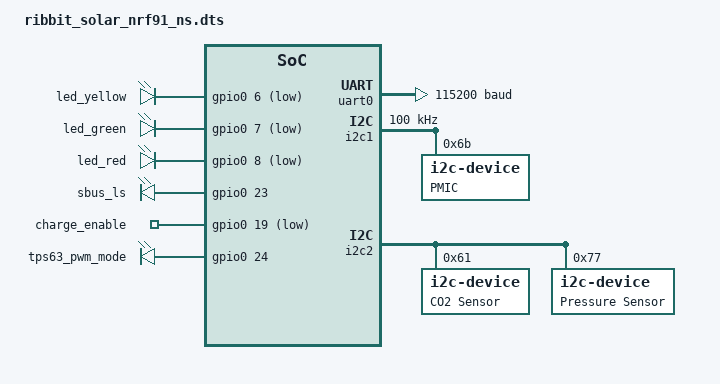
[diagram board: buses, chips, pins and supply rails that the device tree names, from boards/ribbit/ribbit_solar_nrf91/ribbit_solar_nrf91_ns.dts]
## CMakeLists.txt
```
#
# Copyright (c) 2025 Nordic Semiconductor ASA
#
# SPDX-License-Identifier: LicenseRef-Nordic-5-Clause
#

cmake_minimum_required(VERSION 3.20.0)
find_package(Zephyr REQUIRED HINTS $ENV{ZEPHYR_BASE})
project(ribbit-solar-nrf91)

target_sources(app PRIVATE src/main.c)
```

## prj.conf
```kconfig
#
# Copyright (c) 2022 Nordic Semiconductor ASA
#
# SPDX-License-Identifier: LicenseRef-Nordic-5-Clause
#

# Log level
# For more verbose and detailed log output, set the log level to
# CONFIG_MULTI_SERVICE_LOG_LEVEL_DBG=y instead.
CONFIG_MULTI_SERVICE_LOG_LEVEL_INF=y

# General config
CONFIG_EVENTS=y
CONFIG_PICOLIBC_IO_FLOAT=y
CONFIG_RESET_ON_FATAL_ERROR=y
CONFIG_NCS_SAMPLES_DEFAULTS=y
CONFIG_DK_LIBRARY=y

# LED indication
# Uncomment these to minimize LED state indication when power savings are necessary
# CONFIG_LED_VERBOSE_INDICATION=n
# CONFIG_LED_CONTINUOUS_INDICATION=n

# Or, uncomment this to completely disable LED state indication
# CONFIG_LED_INDICATION_DISABLED=y

# Improved Logging
# CONFIG_LOG_MODE_DEFERRED allows logging from multiple threads simultaneously without creating
# splintered log entries, at the cost of needing a buffer for storing logs.
CONFIG_LOG_MODE_DEFERRED=y

# CONFIG_LOG_BUFFER_SIZE is the aforementioned buffer. A size of 4096 bytes is useful for debugging
# and prototyping, but is probably more than necessary for production-ready firmware.
CONFIG_LOG_BUFFER_SIZE=4096

# Heap and stacks
# Extended AT host/monitor stack/heap sizes since some nrf_cloud credentials are longer than 1024 bytes.
CONFIG_AT_MONITOR_HEAP_SIZE=2048
CONFIG_AT_HOST_STACK_SIZE=2048
# Extended memory heap size needed both for PGPS and for encoding JSON-based nRF Cloud Device Messages.
CONFIG_HEAP_MEM_POOL_SIZE=19000
CONFIG_SYSTEM_WORKQUEUE_STACK_SIZE=4096
# The default modem shared memory buffer for TX is significantly larger than required.
# RX buffer has to be larger because the sample reads certificates so using default value.
CONFIG_NRF_MODEM_LIB_SHMEM_TX_SIZE=4096

# Enable Networking and Connection Manager.
CONFIG_NETWORKING=y
CONFIG_NET_SOCKETS=y
CONFIG_NET_SOCKETS_OFFLOAD=y
CONFIG_NET_MGMT_EVENT_STACK_SIZE=2048
CONFIG_NET_CONNECTION_MANAGER_MONITOR_STACK_SIZE=1024
CONFIG_MAIN_STACK_SIZE=2048

# Enable LTE Connectivity using Connection Manager
CONFIG_NET_IPV4=y
CONFIG_NET_IPV6=y
CONFIG_NET_IPV6_NBR_CACHE=n
CONFIG_NET_IPV6_MLD=n
CONFIG_NET_CONNECTION_MANAGER=y
CONFIG_NRF_MODEM_LIB_NET_IF=y
CONFIG_NRF_MODEM_LIB_NET_IF_AUTO_DOWN=y
CONFIG_NRF_MODEM_LIB_NET_IF_DOWN_DEFAULT_LTE_DISCONNECT=y

# Enable power savings mode
CONFIG_LTE_PSM_REQ=y
# Set the PSM Requested Active Time to 20 seconds
CONFIG_LTE_PSM_REQ_RAT="00001010"

# Modem library
CONFIG_NRF_MODEM_LIB=y

# AT commands interface
CONFIG_UART_INTERRUPT_DRIVEN=y
CONFIG_AT_HOST_LIBRARY=y

# Wait for credential installation to be complete before connecting to nRF Cloud
CONFIG_NRF_CLOUD_CHECK_CREDENTIALS=y

# nRF Cloud
CONFIG_NRF_CLOUD=y
CONFIG_NRF_CLOUD_MQTT=y # This also enables FOTA by implicitly setting CONFIG_NRF_CLOUD_FOTA=y

# MQTT
CONFIG_MQTT_KEEPALIVE=120

# MCUBOOT - Needed by FOTA
CONFIG_BOOTLOADER_MCUBOOT=y
CONFIG_IMG_MANAGER=y
CONFIG_MCUBOOT_IMG_MANAGER=y
CONFIG_STREAM_FLASH_ERASE=y

# Location Services configuration
CONFIG_LOCATION=y
CONFIG_LOCATION_METHOD_GNSS=y
CONFIG_LOCATION_METHOD_CELLULAR=y
CONFIG_NRF_CLOUD_AGNSS=y
CONFIG_NRF_CLOUD_LOCATION=y
CONFIG_MODEM_INFO=y
CONFIG_MODEM_INFO_ADD_NETWORK=y
CONFIG_NRF_CLOUD_PGPS=y
CONFIG_NRF_CLOUD_PGPS_REPLACEMENT_THRESHOLD=4
CONFIG_NRF_CLOUD_PGPS_REQUEST_UPON_INIT=y

# Date Time lib - Used by PGPS and main application
CONFIG_DATE_TIME=y

# LTE link control - used by PGPS and main application
CONFIG_LTE_LINK_CONTROL=y
CONFIG_LTE_LC_EDRX_MODULE=y
CONFIG_LTE_LC_PSM_MODULE=y

# Settings - used by nRF Cloud library and PGPS
CONFIG_SETTINGS=y
CONFIG_SETTINGS_FCB=y
CONFIG_FCB=y

# Download Client - used by FOTA and PGPS
CONFIG_DOWNLOADER=y
CONFIG_DOWNLOADER_STACK_SIZE=4352
CONFIG_DOWNLOADER_MAX_HOSTNAME_SIZE=128

# Flash - Used by FOTA and PGPS
CONFIG_FLASH=y
CONFIG_FLASH_PAGE_LAYOUT=y
CONFIG_FLASH_MAP=y
CONFIG_STREAM_FLASH=y
CONFIG_MPU_ALLOW_FLASH_WRITE=y
CONFIG_PM_EXTERNAL_FLASH_MCUBOOT_SECONDARY=n
CONFIG_NRF_CLOUD_ALERT=y
CONFIG_NRF_CLOUD_LOG_DIRECT=y
CONFIG_NRF_CLOUD_LOG_OUTPUT_LEVEL=3

# On initial connection to the cloud, add info sections to the shadow
CONFIG_NRF_CLOUD_SEND_DEVICE_STATUS=y
CONFIG_NRF_CLOUD_SEND_DEVICE_STATUS_NETWORK=y
CONFIG_NRF_CLOUD_SEND_DEVICE_STATUS_SIM=y
CONFIG_NRF_CLOUD_SEND_SERVICE_INFO_FOTA=y
CONFIG_NRF_CLOUD_SEND_SERVICE_INFO_UI=y


CONFIG_LOCATION_TRACKING_SAMPLE_INTERVAL_SECONDS=86400
CONFIG_SENSOR_SAMPLE_INTERVAL_SECONDS=500
```

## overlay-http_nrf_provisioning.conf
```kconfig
#
# Copyright (c) 2023 Nordic Semiconductor ASA
#
# SPDX-License-Identifier: LicenseRef-Nordic-5-Clause
#

# Enable provisioning library/provisioning shell dependencies
CONFIG_MODEM_JWT=y
CONFIG_MODEM_ATTEST_TOKEN=y

# Enable the provisioning library
CONFIG_NRF_PROVISIONING=y
CONFIG_NRF_PROVISIONING_AUTO_INIT=n
CONFIG_NRF_PROVISIONING_HTTP=y

# Enable provisioning shell
CONFIG_SHELL=y
CONFIG_NRF_PROVISIONING_SHELL=y

CONFIG_SHELL_BACKEND_SERIAL=y

# Adjust shell buffer sizes to handle nRF Cloud certs
CONFIG_SHELL_BACKEND_SERIAL_RX_RING_BUFFER_SIZE=4096
CONFIG_SHELL_CMD_BUFF_SIZE=4096

# Disable AT host and switch to using shell
CONFIG_AT_HOST_LIBRARY=n
CONFIG_AT_SHELL=y
CONFIG_SHELL_WILDCARD=n

# Configure provisioning message formatting
CONFIG_NRF_PROVISIONING_CODEC=y
CONFIG_NRF_PROVISIONING_CBOR=y
CONFIG_ZCBOR=y
CONFIG_ZCBOR_CANONICAL=y

# Include provisioning service certificate as part of the binary.
# Used only if none has been provisioned
CONFIG_NRF_PROVISIONING_WITH_CERT=y
CONFIG_NRF_PROVISIONING_ROOT_CA_SEC_TAG=50
CONFIG_NRF_CLOUD_CLIENT_ID_SRC_INTERNAL_UUID=y

# Max provisioning commands per response
CONFIG_NRF_PROVISIONING_CBOR_RECORDS=20

# Set the provisioning interval to 60 seconds.
# This is a very frequent interval. To save power, set this to something approaching 24 hours.
# But note that provisioning may take up to twice as long as this interval, since it
# happens in two steps.
CONFIG_NRF_PROVISIONING_INTERVAL_S=60

# Request spread factor
CONFIG_NRF_PROVISIONING_SPREAD_S=5

# Adjust provisioning and buffer sizes to handle nRF Cloud certs
CONFIG_NRF_PROVISIONING_RX_BUF_SZ=4096
CONFIG_NRF_PROVISIONING_TX_BUF_SZ=4096
CONFIG_NRF_PROVISIONING_CODEC_AT_CMD_LEN=2048
CONFIG_NRF_PROVISIONING_CODEC_RX_SZ_START=2048
```

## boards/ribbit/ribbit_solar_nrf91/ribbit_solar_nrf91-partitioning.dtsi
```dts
/*
 * Default Flash planning
 *
 * Zephyr build with ARM TrustZone-M support, implies building Secure and
 * Non-Secure Zephyr images.
 *
 * Secure image will be placed, by default, in flash0 (or in slot0, if MCUboot
 * is present). Secure image will use sram0 for system memory.
 *
 * Non-Secure image will be placed in slot0_ns, and use sram0_ns for system
 * memory.
 *
 * Note that the Secure image only requires knowledge of the beginning of the
 * Non-Secure image (not its size).
 */
&flash0 {
	partitions {
		compatible = "fixed-partitions";
		#address-cells = <1>;
		#size-cells = <1>;

		boot_partition: partition@0 {
			label = "mcuboot";
			reg = <0x00000000 DT_SIZE_K(64)>;
		};

		slot0_partition: partition@10000 {
			label = "image-0";
			reg = <0x00010000 DT_SIZE_K(256)>;
		};

		slot0_ns_partition: partition@50000 {
			label = "image-0-nonsecure";
			reg = <0x00050000 DT_SIZE_K(212)>;
		};

		slot1_partition: partition@85000 {
			label = "image-1";
			reg = <0x00085000 DT_SIZE_K(256)>;
		};

		slot1_ns_partition: partition@c5000 {
			label = "image-1-nonsecure";
			reg = <0x000c5000 DT_SIZE_K(212)>;
		};

		storage_partition: partition@fa000 {
			label = "storage";
			reg = <0x000fa000 DT_SIZE_K(24)>;
		};
	};
};


/* Default SRAM planning when building with ARM TrustZone-M support:
 * - Lowest 88 kB SRAM allocated to Secure image (sram0_s).
 * - 40 kB SRAM reserved for and used by the modem library (sram0_modem). This
 *   memory is Non-Secure.
 * - Upper 128 kB allocated to Non-Secure image (sram0_ns). When building with
 *   TF-M, both sram0_modem and sram0_ns are allocated to the Non-Secure image.
 */
/ {
	reserved-memory {
		#address-cells = <1>;
		#size-cells = <1>;
		ranges;

		/* Secure image memory */
		sram0_s: image_s@20000000 {
			reg = <0x20000000 DT_SIZE_K(88)>;
		};

		/* Modem (shared) memory */
		sram0_modem: image_modem@20016000 {
			reg = <0x20016000 DT_SIZE_K(40)>;
		};

		/* Non-Secure image memory */
		sram0_ns: image_ns@20020000 {
			reg = <0x20020000 DT_SIZE_K(128)>;
		};
	};
};
```

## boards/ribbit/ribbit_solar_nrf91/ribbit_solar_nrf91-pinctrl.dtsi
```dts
&pinctrl {
    uart0_default: uart0_default {
		group1 {
			psels = <NRF_PSEL(UART_TX, 0, 15)>;
		};

		group2 {
			psels = <NRF_PSEL(UART_RX, 0, 14)>;
			bias-pull-up;
		};
	};

	uart0_sleep: uart0_sleep {
		group1 {
			psels = <NRF_PSEL(UART_TX, 0, 15)>,
                    <NRF_PSEL(UART_RX, 0, 14)>;
			low-power-enable;
		};
	};

	i2c1_default: i2c0_default {
		group1 {
			psels = <NRF_PSEL(TWIM_SDA, 0, 21)>,
					<NRF_PSEL(TWIM_SCL, 0, 20)>;
		};
	};

	i2c2_default: i2c1_default {
		group1 {
			psels = <NRF_PSEL(TWIM_SDA, 0, 30)>,
					<NRF_PSEL(TWIM_SCL, 0, 31)>;
		};
	};
};
```

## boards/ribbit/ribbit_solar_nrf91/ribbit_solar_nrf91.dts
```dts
/dts-v1/;
#include <nordic/nrf9151_laca.dtsi>
#include "ribbit_solar_nrf91-pinctrl.dtsi"
#include "ribbit_solar_nrf91-partitioning.dtsi"

/ {
	chosen {
		zephyr,sram = &sram0_s;
		zephyr,flash = &flash0;
		zephyr,code-partition = &slot0_partition;
		zephyr,sram-secure-partition = &sram0_s;
		zephyr,sram-non-secure-partition = &sram0_ns;
	};
};
```

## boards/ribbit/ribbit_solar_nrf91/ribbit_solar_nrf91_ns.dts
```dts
/dts-v1/;
#include <nordic/nrf9151ns_laca.dtsi>
#include "ribbit_solar_nrf91-pinctrl.dtsi"
#include "ribbit_solar_nrf91-partitioning.dtsi"

#include <zephyr/dt-bindings/i2c/i2c.h>

/ {
	chosen {
		zephyr,flash = &flash0;
		zephyr,sram = &sram0_ns;
		zephyr,code-partition = &slot0_ns_partition;
		zephyr,console = &uart0;
		zephyr,shell-uart = &uart0;
	};

	aliases {
		led0 = &led_green;
	};

	leds {
		compatible = "gpio-leds";
		led_yellow: led_yellow {
			gpios = <&gpio0 6 GPIO_ACTIVE_LOW>;
		};
		led_green: led_green {
			gpios = <&gpio0 7 GPIO_ACTIVE_LOW>;
		};
		led_red: led_red {
			gpios = <&gpio0 8 GPIO_ACTIVE_LOW>;
		};
	};

	enables {
		compatible = "gpio-leds";
		sbus_ls: sbus_ls {
			gpios = <&gpio0 23 GPIO_ACTIVE_HIGH>;
		};
		charge_enable: charge_enable {
			gpios = <&gpio0 19 GPIO_ACTIVE_LOW>;
		};
		tps63_pwm_mode: tps63_pwm_mode {
			gpios = <&gpio0 24 GPIO_ACTIVE_HIGH>;
		};
	};
};

&gpiote {
	status = "okay";
};

&gpio0 {
	status = "okay";
};

&uart0 {
	compatible = "nordic,nrf-uarte";
	status = "okay";
	current-speed = <115200>;
	pinctrl-0 = <&uart0_default>;
	pinctrl-1 = <&uart0_sleep>;
	pinctrl-names = "default", "sleep";
};

&i2c1 {
	compatible = "nordic,nrf-twim";
	status = "okay";
	clock-frequency = <I2C_BITRATE_STANDARD>;

	pinctrl-0 = <&i2c1_default>;
	pinctrl-names = "default";

	bq25798: bq25798@6b {
		compatible = "i2c-device";
		reg = <0x6b>;
		label = "PMIC";
	};
};

&i2c2 {
	compatible = "nordic,nrf-twim";
	status = "okay";
	pinctrl-0 = <&i2c2_default>;
	pinctrl-names = "default";

	scd30: scd30@61 {
		compatible = "i2c-device";
		reg = <0x61>;
		label = "CO2 Sensor";
	};

	dps310: dps310@77 {
		compatible = "i2c-device";
		// compatible = "infineon,dps310";
		reg = <0x77>;
		label = "Pressure Sensor";
	};

};
```

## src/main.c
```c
/*
 * Copyright (c) 2016 Intel Corporation
 *
 * SPDX-License-Identifier: Apache-2.0
 */

#include <stdio.h>
#include <zephyr/kernel.h>
#include <zephyr/drivers/gpio.h>
#include <zephyr/drivers/i2c.h>
#include <zephyr/sys/crc.h>

#define LED_YELLOW_NODE 	DT_NODELABEL(led_green)
#define SBUS_LS_NODE 		DT_NODELABEL(sbus_ls)
#define CHARGE_EN_NODE 		DT_NODELABEL(charge_enable)

#define BQ25798_NODE		DT_NODELABEL(bq25798)
#define SCD30_NODE			DT_NODELABEL(scd30)
#define DPS310_NODE			DT_NODELABEL(dps310)

static const struct gpio_dt_spec led = GPIO_DT_SPEC_GET(LED_YELLOW_NODE, gpios);
static const struct gpio_dt_spec sbus_ls = GPIO_DT_SPEC_GET(SBUS_LS_NODE, gpios);
static const struct gpio_dt_spec charge_enable = GPIO_DT_SPEC_GET(CHARGE_EN_NODE, gpios);

static const struct i2c_dt_spec pmic_i2c = I2C_DT_SPEC_GET(BQ25798_NODE);
static const struct i2c_dt_spec sbus_scd30_i2c = I2C_DT_SPEC_GET(SCD30_NODE);
static const struct i2c_dt_spec sbus_dps310_i2c = I2C_DT_SPEC_GET(DPS310_NODE);

int turn_on_sbus(void) {
	int ret;

	// Set up SBUS power
	if (!gpio_is_ready_dt(&sbus_ls)) {
		return -1;
	}

	ret = gpio_pin_configure_dt(&sbus_ls, GPIO_OUTPUT_ACTIVE);
	if (ret < 0) {
		return -1;
	}

	ret = gpio_pin_set_dt(&sbus_ls, 1);
	if (ret < 0) {
		return -1;
	}

	printk("SBUS enabled\n");
	return ret;
}

int test_pmic_i2c(void)
{
	// Use low level I2C APIs to do a basic test of each device on the power bus
	int ret;
	if (!device_is_ready(pmic_i2c.bus)) {
		printk("I2C bus %s is not ready!\n\r",pmic_i2c.bus->name);
		return -1;
	}

	uint8_t data;
	uint8_t addr = 0x48;
	ret = i2c_reg_read_byte_dt(&pmic_i2c, addr, &data);
	if(ret != 0){
		printk("Failed to read byte from I2C device address %x at Reg. %x \n\r", pmic_i2c.addr, addr);
	}

	printk("Read BQ25798 I2C byte @ %x: %x\n", addr, data);
	if (data != 0x19) {
		printk("BQ25798 I2C failed\n");
	} else {
		printk("BQ25798 I2C passed\n");
	}

	return ret;
}

int test_sbus_i2c(void)
{
	// Use low level I2C APIs to do a basic test of each device on the sensor bus
	int ret;

	// -- SCD30 --

	if (!device_is_ready(sbus_scd30_i2c.bus)) {
		printk("I2C bus %s is not ready!\n\r",sbus_scd30_i2c.bus->name);
		return -1;
	}

	uint8_t data[3] = {0};
	uint8_t cmd[] = {0xD1, 0x00};
	ret = i2c_write_dt(&sbus_scd30_i2c, cmd, sizeof(cmd));
	if(ret != 0){
		printk("Failed to read bytes from I2C device address %x at Reg. %x %x\n", sbus_scd30_i2c.addr, cmd[0], cmd[1]);
	}

	// required, see scd30 interface datasheet
	k_sleep(K_MSEC(3));

	ret = i2c_read_dt(&sbus_scd30_i2c, data, sizeof(data));

	uint8_t expected[3] = {0x03, 0x42, 0};
	expected[2] = crc8(expected, 2, 0x31, 0xFF, false);

	bool scd30_pass = true;
	printk("Read SCD30 I2C @ d100: ");
	for (int i = 0; i < sizeof(expected); i++) {
		printk("%x", data[i]);
		if (data[i] != expected[i]) {
			scd30_pass = false;
		} 
	}

	if (scd30_pass) {
		printk("\nSCD30 I2C passed\n");
	} else {
		printk("\nSCD30 I2C failed\n");
	}

	// -- DPS310 --

	if (!device_is_ready(sbus_dps310_i2c.bus)) {
		printk("I2C bus %s is not ready!\n\r",sbus_dps310_i2c.bus->name);
		return 0;
	}

	uint8_t dps_data;
	uint8_t addr = 0x0D;
	ret = i2c_reg_read_byte_dt(&sbus_dps310_i2c, addr, &dps_data);
	if(ret != 0){
		printk("Failed to read byte from I2C device address %x at Reg. %x \n\r", sbus_dps310_i2c.addr, addr);
	}

	printk("Read DPS310 I2C byte @ %x: %x\n", addr, dps_data);
	if (dps_data != 0x10) {
		printk("DPS310 I2C failed\n");
	} else {
		printk("DPS310 I2C passed\n");
	}
	
	return ret;
}

int infinite_blink(void)
{
	int ret;
	if (!gpio_is_ready_dt(&led)) {
		return -1;
	}

	ret = gpio_pin_configure_dt(&led, GPIO_OUTPUT_ACTIVE);
	if (ret < 0) {
		return -1;
	}

	while (1) {
		ret = gpio_pin_toggle_dt(&led);
		if (ret < 0) {
			return -1;
		}

		k_sleep(K_MSEC(1000));
	}
}

int enable_charging(void)
{
	int ret;

	// Set up SBUS power
	if (!gpio_is_ready_dt(&charge_enable)) {
		return -1;
	}

	ret = gpio_pin_configure_dt(&charge_enable, GPIO_OUTPUT_ACTIVE);
	if (ret < 0) {
		return -1;
	}

	ret = gpio_pin_set_dt(&charge_enable, 1);
	if (ret < 0) {
		return -1;
	}

	printk("nCE enabled\n");
	return ret;
}

#define REG_Minimum_System_Voltage      0x00
#define REG_Charge_Voltage_Limit        0x01
#define REG_Charge_Current_Limit        0x03
#define REG_Input_Voltage_Limit         0x05
#define REG_Input_Current_Limit         0x06
#define REG_Charger_Control_0           0x0F
#define REG_Precharge_Control           0x08
#define REG_Termination_Control         0x09
#define REG_Charger_Control_1           0x10
#define REG_Charger_Control_5           0x14
#define REG_MPPT_Control               	0x15
#define REG_Charger_Status_0            0x1B
#define REG_Charger_Status_1            0x1C
#define REG_Charger_Status_2            0x1D
#define REG_Charger_Status_3            0x1E
#define REG_Charger_Status_4            0x1F
#define REG_Charger_Flag_0              0x22
#define REG_ADC_Control             	0x2E
#define REG_ADC_Function_Disable_1	    0x30

static int i2c_reg_write_word_dt(const struct i2c_dt_spec *i2c, uint8_t reg_addr, uint16_t value)
{
    uint8_t bytes[3];

    bytes[0] = reg_addr;
    bytes[1] = (uint8_t)(value >> 8);
    bytes[2] = (uint8_t)(value & 0xFF);

    return i2c_write_dt(i2c, bytes, sizeof(bytes));
}

static int i2c_reg_read_word_dt(const struct i2c_dt_spec * i2c, uint8_t reg_addr, uint16_t * value)
{
    uint8_t buf[2];
    int ret = i2c_write_read_dt(i2c, &reg_addr, 1, buf, 2);
    if (ret != 0) {
        return ret;
    }

    *value = ((uint16_t)buf[0] << 8) | buf[1];
    return 0;
}

int program_charge_params(void)
{
	// reset
	if (i2c_reg_write_byte_dt(&pmic_i2c, REG_Termination_Control, 0x40)) {
		goto failed;
	}	

	k_sleep(K_MSEC(20));

	// bq.disable_watchdog()
	if (i2c_reg_write_byte_dt(&pmic_i2c, REG_Charger_Control_1, 0x80)) {
		goto failed;
	}

    // bq.config_vsysmin(2500)
	// 0 * 250 mV + 2500 mV == 2500 mV
	if (i2c_reg_write_byte_dt(&pmic_i2c, REG_Minimum_System_Voltage, 0)) {
		goto failed;
	}

	uint8_t byte_val;
	if (i2c_reg_read_byte_dt(&pmic_i2c, REG_Minimum_System_Voltage, &byte_val)) {
		goto failed;
	}
	printk("Minimum System Voltage = %d mV\n", (byte_val * 250) + 2500);

	uint16_t word_val;
    // bq.config_charge_voltage_limit(3550)
	if (i2c_reg_write_word_dt(&pmic_i2c, REG_Charge_Voltage_Limit, 355)) {
		goto failed;
	}
	
	if (i2c_reg_read_word_dt(&pmic_i2c, REG_Charge_Voltage_Limit, &word_val)) {
		goto failed;
	}

	printk("Charge Voltage Limit = %d mV\n", word_val * 10);

    // bq.config_charge_current_limit(500)
	if (i2c_reg_write_word_dt(&pmic_i2c, REG_Charge_Current_Limit, 50)) {
		goto failed;
	}
	
	if (i2c_reg_read_word_dt(&pmic_i2c, REG_Charge_Current_Limit, &word_val)) {
		goto failed;
	}

	printk("Charge Current Limit = %d mA\n", word_val * 10);

    // bq.config_precharge_current(40)
	if (i2c_reg_write_byte_dt(&pmic_i2c, REG_Precharge_Control, 1)) {
		goto failed;
	}
	
	if (i2c_reg_read_byte_dt(&pmic_i2c, REG_Precharge_Control, &byte_val)) {
		goto failed;
	}

	printk("Precharge Current Limit = %d mA\n", byte_val * 40);

    // bq.config_charge_term_current(40)
	if (i2c_reg_write_byte_dt(&pmic_i2c, REG_Termination_Control, 2)) {
		goto failed;
	}
	
	if (i2c_reg_read_byte_dt(&pmic_i2c, REG_Termination_Control, &byte_val)) {
		goto failed;
	}

	printk("Termination Current Limit = %d mA\n", byte_val * 40);

	// re-run poor source qualification
    // bq.recheck_vbus()
	if (i2c_reg_read_byte_dt(&pmic_i2c, REG_Charger_Control_0, &byte_val)) {
		goto failed;
	}

	// Force EN_HIZ
	// byte_val &= ~(1 << 2);

	// if (i2c_reg_write_byte_dt(&pmic_i2c, REG_Charger_Control_0, byte_val)) {
	// 	goto failed;
	// }

	// printk("Forcing re-check\n");

	// In theory, MPPT could be turned on whenever we detect the solar power present

	// bq.enable_mppt()
	if (i2c_reg_write_byte_dt(&pmic_i2c, REG_MPPT_Control, 0x4B)) {
		goto failed;
	}

	// printk("Enabled MPPT\n");

	// bq.configure_control5()
	// disable EN_EXTILIM, enable EN_IBAT
	if (i2c_reg_write_byte_dt(&pmic_i2c, REG_Charger_Control_5, 0x3c)) {
		goto failed;
	}
	
	if (i2c_reg_read_byte_dt(&pmic_i2c, REG_Input_Voltage_Limit, &byte_val)) {
		goto failed;
	}

	printk("Disable IINDPM limit from external pin\n");
	printk("Enable IBAT discharge sensing\n");

	// bq.config_vindpm(3600)
	if (i2c_reg_write_byte_dt(&pmic_i2c, REG_Input_Voltage_Limit, 36)) {
		goto failed;
	}
	
	if (i2c_reg_read_byte_dt(&pmic_i2c, REG_Input_Voltage_Limit, &byte_val)) {
		goto failed;
	}

	printk("Input Voltage Limit = %d mV\n", byte_val * 100);

 	// bq.config_iindpm(100)
	if (i2c_reg_write_word_dt(&pmic_i2c, REG_Input_Current_Limit, 50)) {
		goto failed;
	}
	
	if (i2c_reg_read_word_dt(&pmic_i2c, REG_Input_Current_Limit, &word_val)) {
		goto failed;
	}

	printk("Input Current Limit = %d mA\n", word_val * 10);

	return 0;
failed:
	printk("ERROR DURING BQ25 COMMANDS\n");
	return 1;
}

int print_adc_values(void)
{
	// Read conversions
	char * names[9] = {"ibus", "ibat", "vbus", "vac1", "vac2", "vbat", "vsys", "ts", "tdie"};
	int16_t vals[9] = {0};
	for (uint8_t i = 0; i < 9; i++) {
		if (i2c_reg_read_word_dt(&pmic_i2c, 0x31 + (2*i), vals + i)) {
			return -1;
		}
	}

	for (int i = 0; i < 9; i++) {
		printk("%s : %d\n", names[i], vals[i]);
	}

	return 0;
}


int main(void)
{
	if (turn_on_sbus()) {
		return 0;
	}

	test_pmic_i2c();
	test_sbus_i2c();

	// assumes a ~ 1500 mA lifepo4 cell
	program_charge_params();

	enable_charging();

	// Enable ADC
	if (i2c_reg_write_byte_dt(&pmic_i2c, REG_ADC_Control, 0x80)) {
		printk("ERROR DURING ADC ENABLE\n");
		return -1;
	}

	// Ensure we're charging from panel
	if (i2c_reg_write_byte_dt(&pmic_i2c, 0x13, 0x80)) {
		printk("ERROR DURING ADC ENABLE\n");
		return -1;
	}

	printk("Enabled ADC continuous conversion\n");

	while (true) {
		print_adc_values();
		k_sleep(K_MSEC(1000));
	}

	return 0;
}
```

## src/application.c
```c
/* Copyright (c) 2023 Nordic Semiconductor ASA
 *
 * SPDX-License-Identifier: LicenseRef-Nordic-5-Clause
 */

#include <zephyr/kernel.h>
#include <zephyr/logging/log.h>
#include <zephyr/logging/log_ctrl.h>
#include <helpers/nrfx_reset_reason.h>
#include <date_time.h>
#include <stdio.h>
#include <net/nrf_cloud.h>
#include <net/nrf_cloud_codec.h>
#include <net/nrf_cloud_log.h>
#include <net/nrf_cloud_alert.h>
#if defined(CONFIG_NRF_CLOUD_COAP)
#include <net/nrf_cloud_coap.h>
#endif
#if defined(CONFIG_LOCATION_TRACKING)
#include <modem/location.h>
#include "location_tracking.h"
#endif
#include <dk_buttons_and_leds.h>
#include "application.h"
#include "temperature.h"
#include "cloud_connection.h"
#include "message_queue.h"
#include "led_control.h"
#include "at_commands.h"
#include "shadow_config.h"


LOG_MODULE_REGISTER(application, CONFIG_MULTI_SERVICE_LOG_LEVEL);

#include "ribbit.h"

/* Timer used to time the sensor sampling rate. */
static K_TIMER_DEFINE(sensor_sample_timer, NULL, NULL);

/* AT command request error handling */
#define AT_CMD_REQUEST_ERR_FORMAT "Error while processing AT command request: %d"
#define AT_CMD_REQUEST_ERR_MAX_LEN (sizeof(AT_CMD_REQUEST_ERR_FORMAT) + 20)
BUILD_ASSERT(CONFIG_AT_CMD_REQUEST_RESPONSE_BUFFER_LENGTH >= AT_CMD_REQUEST_ERR_MAX_LEN,
	     "Not enough AT command response buffer for printing error events.");

/* Temperature alert limits. */
#define TEMP_ALERT_LIMIT ((double)CONFIG_TEMP_ALERT_LIMIT)
#define TEMP_ALERT_HYSTERESIS 1.5
#define TEMP_ALERT_LOWER_LIMIT (TEMP_ALERT_LIMIT - TEMP_ALERT_HYSTERESIS)

/* State of the test counter. This can be changed using the configuration in the shadow */
static bool test_counter_enabled;

/**
 * @brief Construct a device message object with automatically generated timestamp
 *
 * The resultant JSON object will be conformal to the General Message Schema described in the
 * application-protocols repo:
 *
 * https://github.com/nRFCloud/application-protocols
 *
 * @param msg - The object to contain the message
 * @param appid - The appId for the device message
 * @param msg_type - The messageType for the device message
 * @return int - 0 on success, negative error code otherwise.
 */
static int create_timestamped_device_message(struct nrf_cloud_obj *const msg,
					     const char *const appid,
					     const char *const msg_type)
{
	int err;
	int64_t timestamp;

	/* Acquire timestamp */
	err = date_time_now(&timestamp);
	if (err) {
		LOG_ERR("Failed to obtain current time, error %d", err);
		return -ETIME;
	}

	/* Create message object */
	err = nrf_cloud_obj_msg_init(msg, appid,
				     IS_ENABLED(CONFIG_NRF_CLOUD_COAP) ? NULL : msg_type);
	if (err) {
		LOG_ERR("Failed to initialize message with appid %s and msg type %s",
			appid, msg_type);
		return err;
	}

	/* Add timestamp to message object */
	err = nrf_cloud_obj_ts_add(msg, timestamp);
	if (err) {
		LOG_ERR("Failed to add timestamp to data message with appid %s and msg type %s",
			appid, msg_type);
		nrf_cloud_obj_free(msg);
		return err;
	}

	return 0;
}

/**
 * @brief Transmit a collected sensor sample to nRF Cloud.
 *
 * @param sensor - The name of the sensor which was sampled.
 * @param value - The sampled sensor value.
 * @return int - 0 on success, negative error code otherwise.
 */
static int send_sensor_sample(const char *const sensor, double value)
{
	int ret;

	MSG_OBJ_DEFINE(msg_obj);

	/* Create a timestamped message container object for the sensor sample. */
	ret = create_timestamped_device_message(&msg_obj, sensor,
						NRF_CLOUD_JSON_MSG_TYPE_VAL_DATA);
	if (ret) {
		return -EINVAL;
	}

	/* Populate the container object with the sensor value. */
	ret = nrf_cloud_obj_num_add(&msg_obj, NRF_CLOUD_JSON_DATA_KEY, value, false);
	if (ret) {
		LOG_ERR("Failed to append value to %s sample container object ",
			sensor);
		nrf_cloud_obj_free(&msg_obj);
		return -ENOMEM;
	}

	/* Send the sensor sample container object as a device message. */
	return send_device_message(&msg_obj);
}

#if defined(CONFIG_LOCATION_TRACKING)
/**
 * @brief Transmit a collected GNSS sample to nRF Cloud.
 *
 * @param loc_gnss - GNSS location data.
 * @return int - 0 on success, negative error code otherwise.
 */
static int send_gnss(const struct location_event_data * const loc_gnss)
{
	int ret;

	if (!loc_gnss || (loc_gnss->method != LOCATION_METHOD_GNSS)) {
		return -EINVAL;
	}

	struct nrf_cloud_gnss_data gnss_pvt = {
		.type = NRF_CLOUD_GNSS_TYPE_PVT,
		.ts_ms = NRF_CLOUD_NO_TIMESTAMP,
		.pvt = {
			.lon		= loc_gnss->location.longitude,
			.lat		= loc_gnss->location.latitude,
			.accuracy	= loc_gnss->location.accuracy,
			.has_alt	= 0,
			.has_speed	= 0,
			.has_heading	= 0
		}
	};
	MSG_OBJ_DEFINE(msg_obj);

	/* Add the timestamp */
	(void)date_time_now(&gnss_pvt.ts_ms);

	/* Encode the location data into a device message */
	ret = nrf_cloud_obj_gnss_msg_create(&msg_obj, &gnss_pvt);

	if (ret == 0) {
		/* Send the location message */
		ret = send_device_message(&msg_obj);
	}

	return ret;
}

/**
 * @brief Callback to receive periodic location updates from location_tracking.c and forward them
 * to nRF Cloud.
 *
 * Note that cellular positioning (MCELL/Multi-Cell and SCELL/Single-Cell) is sent to nRF
 * Cloud automatically (since the Location library and nRF Cloud must work together to
 * determine them in the first place). GNSS positions, on the other hand, must be
 * sent manually, since they are determined entirely on-device.
 *
 * @param location_data - The received location update.
 *
 */
static void on_location_update(const struct location_event_data * const location_data)
{
	LOG_INF("Location Updated: %.06f N %.06f W, accuracy: %.01f m, Method: %s",
		location_data->location.latitude,
		location_data->location.longitude,
		(double)location_data->location.accuracy,
		location_method_str(location_data->method));

	/* If the position update was derived using GNSS, send it onward to nRF Cloud. */
	if (location_data->method == LOCATION_METHOD_GNSS) {
		LOG_INF("GNSS Position Update! Sending to nRF Cloud...");
		send_gnss(location_data);
	}
}
#endif /* CONFIG_LOCATION_TRACKING */

/**
 * @brief Receives general device messages from nRF Cloud, checks if they are AT command requests,
 * and performs them if so, transmitting the modem response back to nRF Cloud.
 *
 * Try sending {"appId":"MODEM", "messageType":"CMD", "data":"AT+CGMR"}
 * in the nRF Cloud Portal Terminal card.
 *
 * @param msg - The device message to check.
 */
static void handle_at_cmd_requests(const struct nrf_cloud_data *const dev_msg)
{
	char *cmd;
	NRF_CLOUD_OBJ_DEFINE(msg_obj, NRF_CLOUD_OBJ_TYPE__UNDEFINED);
	int err = nrf_cloud_obj_input_decode(&msg_obj, dev_msg);

	if (err) {
		/* The message isn't JSON or otherwise couldn't be parsed. */
		LOG_DBG("A general topic device message of length %d could not be parsed.",
			dev_msg->len);
		return;
	}

	/* Confirm app ID and message type */
	err = nrf_cloud_obj_msg_check(&msg_obj, NRF_CLOUD_JSON_APPID_VAL_MODEM,
				      NRF_CLOUD_JSON_MSG_TYPE_VAL_CMD);
	if (err) {
		goto cleanup;
	}

	/* Get the command string */
	err = nrf_cloud_obj_str_get(&msg_obj, NRF_CLOUD_JSON_DATA_KEY, &cmd);
	if (err) {
		/* Missing or invalid command value will be treated as a blank command */
		cmd = "";
	}

	/* Execute the command and receive the result */
	char *response = execute_at_cmd_request(cmd);

	/* To re-use msg_obj for the response message we must first free its memory and
	 * reset its state.
	 * The cmd string will no longer be valid after msg_obj is freed.
	 */
	cmd = NULL;
	/* Free the object's allocated memory */
	err = nrf_cloud_obj_free(&msg_obj);
	if (err) {
		LOG_ERR("Failed to free AT CMD request");
		return;
	}

	/* Reset the object's state */
	err = nrf_cloud_obj_reset(&msg_obj);
	if (err) {
		LOG_ERR("Failed to reset AT CMD request message object for reuse");
		return;
	}

	err = create_timestamped_device_message(&msg_obj, NRF_CLOUD_JSON_APPID_VAL_MODEM,
						NRF_CLOUD_JSON_MSG_TYPE_VAL_DATA);
	if (err) {
		return;
	}

	/* Populate response with command result */
	err = nrf_cloud_obj_str_add(&msg_obj, NRF_CLOUD_JSON_DATA_KEY, response, false);
	if (err) {
		LOG_ERR("Failed to populate AT CMD response with modem response data");
		goto cleanup;
	}

	/* Send the response */
	err = send_device_message(&msg_obj);
	if (err) {
		LOG_ERR("Failed to send AT CMD request response, error: %d", err);
	}

	return;

cleanup:
	(void)nrf_cloud_obj_free(&msg_obj);
}

/** @brief Check whether temperature is acceptable.
 * If the device exceeds a temperature limit, send the temperature alert one time.
 * Once the temperature falls below a lower limit, re-enable the temperature alert
 * so it will be sent if limit is exceeded again.
 *
 * The difference between the two limits should be sufficient to prevent sending
 * new alerts if the temperature value oscillates between two nearby values.
 *
 * @param temp - The current device temperature.
 */
static void monitor_temperature(double temp)
{
	static bool temperature_alert_active;

	if ((temp > TEMP_ALERT_LIMIT) && !temperature_alert_active) {
		temperature_alert_active = true;
		(void)nrf_cloud_alert_send(ALERT_TYPE_TEMPERATURE, (float)temp,
					   "Temperature over limit!");
		LOG_INF("Temperature limit %f C exceeded: now %f C.",
			TEMP_ALERT_LIMIT, temp);
	} else if ((temp < TEMP_ALERT_LOWER_LIMIT) && temperature_alert_active) {
		temperature_alert_active = false;
		LOG_INF("Temperature now below limit: %f C.", temp);
	}
}

/** @brief Send an incrementing test counter message to nRF Cloud.
 * If CONFIG_TEST_COUNTER_MULTIPLIER is greater than 1, the counter will be incremented
 * that many times in a row, and a separate test counter message will be sent for each increment.
 */
static void test_counter_send(void)
{
	static int counter;

	for (int i = 0; i < CONFIG_TEST_COUNTER_MULTIPLIER; i++) {
		LOG_INF("Sent test counter = %d", counter);
		(void)send_sensor_sample("COUNT", counter++);
	}
}

// static void button_handler(uint32_t button_state, uint32_t has_changed)
// {
// 	if (has_changed & DK_BTN1_MSK) {
// 		if ((button_state & DK_BTN1_MSK) == DK_BTN1_MSK) {
// 			LOG_INF("Button pressed");
// 			(void)nrf_cloud_alert_send(ALERT_TYPE_MSG, 0, "Button pressed");
// 		}
// 	}
// }

static void print_reset_reason(void)
{
	uint32_t reset_reason;

	reset_reason = nrfx_reset_reason_get();
	LOG_INF("Reset reason: 0x%x", reset_reason);
}

static void report_startup(void)
{
	if (IS_ENABLED(CONFIG_SEND_ONLINE_ALERT)) {
		uint32_t reset_reason;

		reset_reason = nrfx_reset_reason_get();
		nrfx_reset_reason_clear(reset_reason);
		(void)nrf_cloud_alert_send(ALERT_TYPE_DEVICE_NOW_ONLINE, reset_reason, NULL);
	}
}

void main_application_thread_fn(void)
{
	program_charge_params();

	print_reset_reason();

	if (IS_ENABLED(CONFIG_AT_CMD_REQUESTS)) {
		/* Register with connection.c to receive general device messages and check them for
		 * AT command requests.
		 */
		register_general_dev_msg_handler(handle_at_cmd_requests);
	}

	// dk_buttons_init(button_handler);

	/* Wait for first connection before starting the application. */
	(void)await_cloud_ready(K_FOREVER);

	LOG_INF("AT%%XANTCFG=1 : %s", execute_at_cmd_request("AT%XANTCFG=1"));
	LOG_INF("AT%%XCOEX2=2  : %s", execute_at_cmd_request("AT%XCOEX2=2"));

	report_startup();

	/* Wait for the date and time to become known.
	 * This is needed both for location services and for sensor sample timestamping.
	 */
	LOG_INF("Waiting for modem to determine current date and time");
	if (!await_date_time_known(K_SECONDS(CONFIG_DATE_TIME_ESTABLISHMENT_TIMEOUT_SECONDS))) {
		LOG_WRN("Failed to determine valid date time. Proceeding anyways");
	} else {
		LOG_INF("Current date and time determined");
	}

	const char *protocol = "";

	if (IS_ENABLED(CONFIG_NRF_CLOUD_MQTT)) {
		protocol = "MQTT";
	} else if (IS_ENABLED(CONFIG_NRF_CLOUD_COAP)) {
		protocol = "CoAP";
	}
	nrf_cloud_log_init();
	nrf_cloud_log_control_set(CONFIG_NRF_CLOUD_LOG_OUTPUT_LEVEL);
	/* Send a direct log to the nRF Cloud web portal indicating the sample has started up. */
	(void)nrf_cloud_log_send(LOG_LEVEL_INF,
				 "nRF Cloud multi-service sample has started, "
				 "version: %s, protocol: %s",
				 CONFIG_APP_VERSION, protocol);

#if defined(CONFIG_LOCATION_TRACKING)
	/* Begin tracking location at the configured interval. */
	(void)start_location_tracking(on_location_update,
					CONFIG_LOCATION_TRACKING_SAMPLE_INTERVAL_SECONDS);
#endif

	/* Ribbit Init */
	// program_charge_params();
	enable_charging();
	turn_on_sbus();
	set_co2_low_sample_rate();

	/* Begin sampling sensors. */
	while (true) {
		/* Start the sensor sample interval timer.
		 * We use a timer here instead of merely sleeping the thread, because the
		 * application thread can be preempted by other threads performing long tasks
		 * (such as periodic location acquisition), and we want to account for these
		 * delays when metering the sample send rate.
		 */
		k_timer_start(&sensor_sample_timer,
			K_SECONDS(CONFIG_SENSOR_SAMPLE_INTERVAL_SECONDS), K_FOREVER);

		if (IS_ENABLED(CONFIG_TEMP_TRACKING)) {

			float temp;
			if (read_co2(&temp) == 0) {
				LOG_INF("CO2=%f", (double)temp);
				// LOG_INF("Temperature is %d degrees C", (int)temp);
				(void)send_sensor_sample(NRF_CLOUD_JSON_APPID_VAL_TEMP, (double)temp);
			} else {
				LOG_INF("Reading SCD30 failed");
			}

			uint16_t ibus;
			if (read_ibus(&ibus) == 0) {
				LOG_INF("IBUS=%d", ibus);
				(void)send_sensor_sample(NRF_CLOUD_JSON_APPID_VAL_HUMID, (double)ibus);
			} else {
				LOG_ERR("Reading VBUS->PMID current failed");
			}

			uint16_t ibat;
			if (read_ibat(&ibat) == 0) {
				LOG_INF("IBAT=%d", ibat);
				(void)send_sensor_sample(NRF_CLOUD_JSON_APPID_VAL_AIR_PRESS, (double)ibat);
			} else {
				LOG_ERR("Reading VBAT current failed");
			}

		}

		if (test_counter_enable_get()) {
			test_counter_send();
		}

		/* Wait out any remaining time on the sample interval timer. */
		k_timer_status_sync(&sensor_sample_timer);

		/* If cloud stops being ready due to network trouble or device being deleted
		 * from the cloud, turn off sensors and wait, then restart sensors.
		 */
		if (!await_cloud_ready(K_NO_WAIT) && is_device_deleted()) {
#if defined(CONFIG_LOCATION_TRACKING)
			(void)location_request_cancel();
#endif
			LOG_INF("Cloud not ready. Pausing sensors.");
			(void)await_cloud_ready(K_FOREVER);
			LOG_INF("Cloud is ready. Enabling sensors.");
#if defined(CONFIG_LOCATION_TRACKING)
			/* Begin tracking location at the configured interval. */
			(void)start_location_tracking(on_location_update,
						  CONFIG_LOCATION_TRACKING_SAMPLE_INTERVAL_SECONDS);
#endif
		}
	}
}

void test_counter_enable_set(const bool enable)
{
	if (IS_ENABLED(CONFIG_TEST_COUNTER)) {
		LOG_DBG("CONFIG_TEST_COUNTER is enabled, ignoring state change request");
	} else {
		LOG_DBG("Test counter %s", enable ? "enabled" : "disabled");
		test_counter_enabled = enable;
	}
}

bool test_counter_enable_get(void)
{
	/* When CONFIG_TEST_COUNTER is enabled the test counter is always enabled */
	return (test_counter_enabled || IS_ENABLED(CONFIG_TEST_COUNTER));
}
```

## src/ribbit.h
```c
/*
 * Copyright (c) 2016 Intel Corporation
 *
 * SPDX-License-Identifier: Apache-2.0
 */

#include <stdio.h>
#include <zephyr/logging/log.h>
#include <zephyr/kernel.h>
#include <zephyr/drivers/gpio.h>
#include <zephyr/drivers/i2c.h>
#include <zephyr/sys/crc.h>
#include <zephyr/sys/byteorder.h>


#define LED_YELLOW_NODE 	DT_NODELABEL(led_green)
#define SBUS_LS_NODE 		DT_NODELABEL(sbus_ls)
#define CHARGE_EN_NODE 		DT_NODELABEL(charge_enable)

#define BQ25798_NODE		DT_NODELABEL(bq25798)
#define SCD30_NODE			DT_NODELABEL(scd30)
#define DPS310_NODE			DT_NODELABEL(dps310)

static const struct gpio_dt_spec led = GPIO_DT_SPEC_GET(LED_YELLOW_NODE, gpios);
static const struct gpio_dt_spec sbus_ls = GPIO_DT_SPEC_GET(SBUS_LS_NODE, gpios);
static const struct gpio_dt_spec charge_enable = GPIO_DT_SPEC_GET(CHARGE_EN_NODE, gpios);

static const struct i2c_dt_spec pmic_i2c = I2C_DT_SPEC_GET(BQ25798_NODE);
static const struct i2c_dt_spec sbus_scd30_i2c = I2C_DT_SPEC_GET(SCD30_NODE);
static const struct i2c_dt_spec sbus_dps310_i2c = I2C_DT_SPEC_GET(DPS310_NODE);

int turn_on_sbus(void) {
	int ret;

	// Set up SBUS power
	if (!gpio_is_ready_dt(&sbus_ls)) {
		return -1;
	}

	ret = gpio_pin_configure_dt(&sbus_ls, GPIO_OUTPUT_ACTIVE);
	if (ret < 0) {
		return -1;
	}

	ret = gpio_pin_set_dt(&sbus_ls, 1);
	if (ret < 0) {
		return -1;
	}

	LOG_INF("SBUS enabled");
	return ret;
}

int test_pmic_i2c(void)
{
	// Use low level I2C APIs to do a basic test of each device on the power bus
	int ret;
	if (!device_is_ready(pmic_i2c.bus)) {
		LOG_INF("I2C bus %s is not ready!\n\r",pmic_i2c.bus->name);
		return -1;
	}

	uint8_t data;
	uint8_t addr = 0x48;
	ret = i2c_reg_read_byte_dt(&pmic_i2c, addr, &data);
	if(ret != 0){
		LOG_INF("Failed to read byte from I2C device address %x at Reg. %x \n\r", pmic_i2c.addr, addr);
	}

	LOG_INF("Read BQ25798 I2C byte @ %x: %x", addr, data);
	if (data != 0x19) {
		LOG_INF("BQ25798 I2C failed");
	} else {
		LOG_INF("BQ25798 I2C passed");
	}

	return ret;
}

int test_sbus_i2c(void)
{
	// Use low level I2C APIs to do a basic test of each device on the sensor bus
	int ret;

	// -- SCD30 --

	if (!device_is_ready(sbus_scd30_i2c.bus)) {
		LOG_INF("I2C bus %s is not ready!\n\r",sbus_scd30_i2c.bus->name);
		return -1;
	}

	uint8_t data[3] = {0};
	uint8_t cmd[] = {0xD1, 0x00};
	ret = i2c_write_dt(&sbus_scd30_i2c, cmd, sizeof(cmd));
	if(ret != 0){
		LOG_INF("Failed to read bytes from I2C device address %x at Reg. %x %x", sbus_scd30_i2c.addr, cmd[0], cmd[1]);
	}

	// required, see scd30 interface datasheet
	k_sleep(K_MSEC(3));

	ret = i2c_read_dt(&sbus_scd30_i2c, data, sizeof(data));

	uint8_t expected[3] = {0x03, 0x42, 0};
	expected[2] = crc8(expected, 2, 0x31, 0xFF, false);

	bool scd30_pass = true;
	LOG_INF("Read SCD30 I2C @ d100: ");
	for (int i = 0; i < sizeof(expected); i++) {
		LOG_INF("%x", data[i]);
		if (data[i] != expected[i]) {
			scd30_pass = false;
		} 
	}

	if (scd30_pass) {
		LOG_INF("\nSCD30 I2C passed");
	} else {
		LOG_INF("\nSCD30 I2C failed");
	}

	// -- DPS310 --

	if (!device_is_ready(sbus_dps310_i2c.bus)) {
		LOG_INF("I2C bus %s is not ready!\n\r",sbus_dps310_i2c.bus->name);
		return 0;
	}

	uint8_t dps_data;
	uint8_t addr = 0x0D;
	ret = i2c_reg_read_byte_dt(&sbus_dps310_i2c, addr, &dps_data);
	if(ret != 0){
		LOG_INF("Failed to read byte from I2C device address %x at Reg. %x \n\r", sbus_dps310_i2c.addr, addr);
	}

	LOG_INF("Read DPS310 I2C byte @ %x: %x", addr, dps_data);
	if (dps_data != 0x10) {
		LOG_INF("DPS310 I2C failed");
	} else {
		LOG_INF("DPS310 I2C passed");
	}
	
	return ret;
}

int set_co2_low_sample_rate()
{
	// first read what it is
	uint8_t data[3] = {0};
	uint8_t cmd[] = {0x46, 0x00};
	int ret = i2c_write_dt(&sbus_scd30_i2c, cmd, sizeof(cmd));
	if(ret != 0){
		LOG_ERR("Failed to write bytes to I2C device address %x at Reg. %x %x", sbus_scd30_i2c.addr, cmd[0], cmd[1]);
		return -1;
	}

	// required, see scd30 interface datasheet
	k_sleep(K_MSEC(3));

	ret = i2c_read_dt(&sbus_scd30_i2c, data, sizeof(data));
	if (ret != 0) {
		LOG_ERR("Failed to read bytes from I2C device address %x", sbus_scd30_i2c.addr);
		return -1;
	}

	if (data[0] != 0x00 || data[1] != 0x2D) {
		LOG_INF("Setting CO2 sample rate to 45 seconds");
		uint8_t int_cmd[] = {0x46, 0x00, 0x00, 0x2D, 0x00};
		int_cmd[4] = crc8(int_cmd + 2, 2, 0x31, 0xFF, false);
		int ret = i2c_write_dt(&sbus_scd30_i2c, int_cmd, sizeof(int_cmd));
		if(ret != 0){
			LOG_ERR("Failed to write bytes to I2C device address %x at Reg. %x %x", sbus_scd30_i2c.addr, int_cmd[0], int_cmd[1]);
			return -1;
		}	

		// required, see scd30 interface datasheet
		k_sleep(K_MSEC(3));
	}

	return 0;
}

int read_co2(float * co2)
{
	uint8_t rdy_data[3] = {0};
	uint8_t rdy_cmd[] = {0x02, 0x02};
	int ret = i2c_write_dt(&sbus_scd30_i2c, rdy_cmd, sizeof(rdy_cmd));
	if(ret != 0){
		LOG_ERR("Failed to write bytes to I2C device address %x at Reg. %x %x", sbus_scd30_i2c.addr, rdy_cmd[0], rdy_cmd[1]);
		return -1;
	}

	// required, see scd30 interface datasheet
	k_sleep(K_MSEC(3));

	ret = i2c_read_dt(&sbus_scd30_i2c, rdy_data, sizeof(rdy_data));
	if (ret != 0) {
		LOG_ERR("Failed to read bytes to I2C device address %x", sbus_scd30_i2c.addr);
		return -1;
	}

	if (rdy_data[1] != 0x01) {
		LOG_WRN("SCD30 not ready yet");
		return -2;
	}

	uint8_t data[6] = {0};
	uint8_t cmd[] = {0x03, 0x00};
	ret = i2c_write_dt(&sbus_scd30_i2c, cmd, sizeof(cmd));
	if(ret != 0){
		LOG_ERR("Failed to write bytes to I2C device address %x at Reg. %x %x", sbus_scd30_i2c.addr, cmd[0], cmd[1]);
		return -1;
	}

	// required, see scd30 interface datasheet
	k_sleep(K_MSEC(3));

	ret = i2c_read_dt(&sbus_scd30_i2c, data, sizeof(data));
	if (ret != 0) {
		LOG_ERR("Failed to read bytes to I2C device address %x", sbus_scd30_i2c.addr);
		return -1;
	}

	// if (data[3] != crc8(data, 2, 0x31, 0xFF, false)) {
	// 	LOG_ERR("CRC FAILED!");
	// }

	// float conversion
	uint8_t raw_bytes[] = {data[0], data[1], data[3], data[4]};
	uint32_t raw = sys_get_be32(raw_bytes);
	if (raw == 0) {
		LOG_WRN("SCD30 returned 0, unlikely result skipped");
		return -2;
	}
    memcpy(co2, &raw, sizeof(float));
	return 0;
}

int infinite_blink(void)
{
	int ret;
	if (!gpio_is_ready_dt(&led)) {
		return -1;
	}

	ret = gpio_pin_configure_dt(&led, GPIO_OUTPUT_ACTIVE);
	if (ret < 0) {
		return -1;
	}

	while (1) {
		ret = gpio_pin_toggle_dt(&led);
		if (ret < 0) {
			return -1;
		}

		k_sleep(K_MSEC(1000));
	}
}

int enable_charging(void)
{
	int ret;

	// Set up SBUS power
	if (!gpio_is_ready_dt(&charge_enable)) {
		return -1;
	}

	ret = gpio_pin_configure_dt(&charge_enable, GPIO_OUTPUT_ACTIVE);
	if (ret < 0) {
		return -1;
	}

	ret = gpio_pin_set_dt(&charge_enable, 1);
	if (ret < 0) {
		return -1;
	}

	LOG_INF("nCE enabled");
	return ret;
}

#define REG_Minimum_System_Voltage      0x00
#define REG_Charge_Voltage_Limit        0x01
#define REG_Charge_Current_Limit        0x03
#define REG_Input_Voltage_Limit         0x05
#define REG_Input_Current_Limit         0x06
#define REG_Charger_Control_0           0x0F
#define REG_Precharge_Control           0x08
#define REG_Termination_Control         0x09
#define REG_Charger_Control_1           0x10
#define REG_Charger_Control_5           0x14
#define REG_MPPT_Control               	0x15
#define REG_Charger_Status_0            0x1B
#define REG_Charger_Status_1            0x1C
#define REG_Charger_Status_2            0x1D
#define REG_Charger_Status_3            0x1E
#define REG_Charger_Status_4            0x1F
#define REG_Charger_Flag_0              0x22
#define REG_ADC_Control             	0x2E
#define REG_ADC_Function_Disable_1	    0x30

static int i2c_reg_write_word_dt(const struct i2c_dt_spec *i2c, uint8_t reg_addr, uint16_t value)
{
    uint8_t bytes[3];

    bytes[0] = reg_addr;
    bytes[1] = (uint8_t)(value >> 8);
    bytes[2] = (uint8_t)(value & 0xFF);

    return i2c_write_dt(i2c, bytes, sizeof(bytes));
}

static int i2c_reg_read_word_dt(const struct i2c_dt_spec * i2c, uint8_t reg_addr, uint16_t * value)
{
    uint8_t buf[2];
    int ret = i2c_write_read_dt(i2c, &reg_addr, 1, buf, 2);
    if (ret != 0) {
        return ret;
    }

    *value = ((uint16_t)buf[0] << 8) | buf[1];
    return 0;
}

int program_charge_params(void)
{
	// reset
	if (i2c_reg_write_byte_dt(&pmic_i2c, REG_Termination_Control, 0x40)) {
		goto failed;
	}	

	k_sleep(K_MSEC(20));

	// bq.disable_watchdog()
	if (i2c_reg_write_byte_dt(&pmic_i2c, REG_Charger_Control_1, 0x80)) {
		goto failed;
	}

    // bq.config_vsysmin(2500)
	// 0 * 250 mV + 2500 mV == 2500 mV
	if (i2c_reg_write_byte_dt(&pmic_i2c, REG_Minimum_System_Voltage, 0)) {
		goto failed;
	}

	uint8_t byte_val;
	if (i2c_reg_read_byte_dt(&pmic_i2c, REG_Minimum_System_Voltage, &byte_val)) {
		goto failed;
	}
	LOG_INF("Minimum System Voltage = %d mV", (byte_val * 250) + 2500);

	uint16_t word_val;
    // bq.config_charge_voltage_limit(3550)
	if (i2c_reg_write_word_dt(&pmic_i2c, REG_Charge_Voltage_Limit, 355)) {
		goto failed;
	}
	
	if (i2c_reg_read_word_dt(&pmic_i2c, REG_Charge_Voltage_Limit, &word_val)) {
		goto failed;
	}

	LOG_INF("Charge Voltage Limit = %d mV", word_val * 10);

    // bq.config_charge_current_limit(500)
	if (i2c_reg_write_word_dt(&pmic_i2c, REG_Charge_Current_Limit, 50)) {
		goto failed;
	}
	
	if (i2c_reg_read_word_dt(&pmic_i2c, REG_Charge_Current_Limit, &word_val)) {
		goto failed;
	}

	LOG_INF("Charge Current Limit = %d mA", word_val * 10);

    // bq.config_precharge_current(40)
	if (i2c_reg_write_byte_dt(&pmic_i2c, REG_Precharge_Control, 1)) {
		goto failed;
	}
	
	if (i2c_reg_read_byte_dt(&pmic_i2c, REG_Precharge_Control, &byte_val)) {
		goto failed;
	}

	LOG_INF("Precharge Current Limit = %d mA", byte_val * 40);

    // bq.config_charge_term_current(40)
	if (i2c_reg_write_byte_dt(&pmic_i2c, REG_Termination_Control, 2)) {
		goto failed;
	}
	
	if (i2c_reg_read_byte_dt(&pmic_i2c, REG_Termination_Control, &byte_val)) {
		goto failed;
	}

	LOG_INF("Termination Current Limit = %d mA", byte_val * 40);

	// re-run poor source qualification
    // bq.recheck_vbus()
	if (i2c_reg_read_byte_dt(&pmic_i2c, REG_Charger_Control_0, &byte_val)) {
		goto failed;
	}

	// Force EN_HIZ
	// byte_val &= ~(1 << 2);

	// if (i2c_reg_write_byte_dt(&pmic_i2c, REG_Charger_Control_0, byte_val)) {
	// 	goto failed;
	// }

	// LOG_INF("Forcing re-check");

	// In theory, MPPT could be turned on whenever we detect the solar power present

	// bq.enable_mppt()
	if (i2c_reg_write_byte_dt(&pmic_i2c, REG_MPPT_Control, 0x4B)) {
		goto failed;
	}

	// LOG_INF("Enabled MPPT");

	// bq.configure_control5()
	// disable EN_EXTILIM, enable EN_IBAT
	if (i2c_reg_write_byte_dt(&pmic_i2c, REG_Charger_Control_5, 0x3c)) {
		goto failed;
	}
	
	if (i2c_reg_read_byte_dt(&pmic_i2c, REG_Input_Voltage_Limit, &byte_val)) {
		goto failed;
	}

	LOG_INF("Disable IINDPM limit from external pin");
	LOG_INF("Enable IBAT discharge sensing");

	// bq.config_vindpm(3600)
	if (i2c_reg_write_byte_dt(&pmic_i2c, REG_Input_Voltage_Limit, 36)) {
		goto failed;
	}
	
	if (i2c_reg_read_byte_dt(&pmic_i2c, REG_Input_Voltage_Limit, &byte_val)) {
		goto failed;
	}

	LOG_INF("Input Voltage Limit = %d mV", byte_val * 100);

 	// bq.config_iindpm(100)
	if (i2c_reg_write_word_dt(&pmic_i2c, REG_Input_Current_Limit, 50)) {
		goto failed;
	}
	
	if (i2c_reg_read_word_dt(&pmic_i2c, REG_Input_Current_Limit, &word_val)) {
		goto failed;
	}

	LOG_INF("Input Current Limit = %d mA", word_val * 10);

	// Enable ADC
	if (i2c_reg_write_byte_dt(&pmic_i2c, REG_ADC_Control, 0x80)) {
		LOG_INF("ERROR DURING ADC ENABLE");
		return -1;
	}

	LOG_INF("Enabled ADC continuous conversion");

	return 0;
failed:
	LOG_INF("ERROR DURING BQ25 COMMANDS");
	return 1;
}

int print_adc_values(void)
{
	// Read conversions
	char * names[9] = {"ibus", "ibat", "vbus", "vac1", "vac2", "vbat", "vsys", "ts", "tdie"};
	int16_t vals[9] = {0};
	for (uint8_t i = 0; i < 9; i++) {
		if (i2c_reg_read_word_dt(&pmic_i2c, 0x31 + (2*i), vals + i)) {
			return -1;
		}
	}

	for (int i = 0; i < 9; i++) {
		LOG_INF("%s : %d", names[i], vals[i]);
	}

	return 0;
}

int read_ibus(int16_t * ibus) {
	if (i2c_reg_read_word_dt(&pmic_i2c, 0x31, ibus)) {
		LOG_ERR("IBUS READ FAILED");
		return -1;
	}

	return 0;
}

int read_ibat(int16_t * ibat) {
	if (i2c_reg_read_word_dt(&pmic_i2c, 0x33, ibat)) {
		LOG_ERR("IBAT READ FAILED");
		return -1;
	}

	return 0;
}

int ribbit_main(void)
{
	if (turn_on_sbus()) {
		return 0;
	}

	test_pmic_i2c();
	test_sbus_i2c();

	// assumes a ~ 1500 mA lifepo4 cell
	program_charge_params();

	enable_charging();

	// Ensure we're charging from panel
	// if (i2c_reg_write_byte_dt(&pmic_i2c, 0x13, 0x80)) {
	// 	LOG_INF("ERROR DURING ADC ENABLE");
	// 	return -1;
	// }

	while (true) {
		print_adc_values();
		k_sleep(K_MSEC(1000));
	}

	return 0;
}
```
